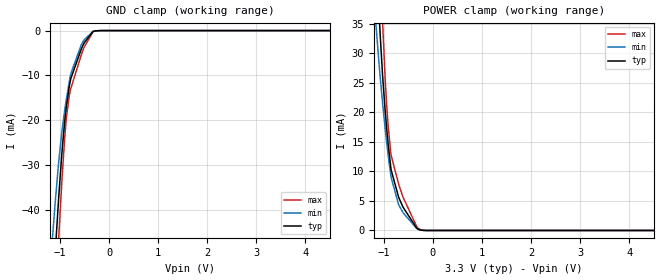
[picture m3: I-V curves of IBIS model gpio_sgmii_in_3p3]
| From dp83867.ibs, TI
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|   gpio_sgmii_in_3p3 Model
[Model]   gpio_sgmii_in_3p3
Model_type   Input
Vinl = 0.7
Vinh = 1.7
|   typ   min   max
|   (nom PVT)   (fast PVT)   (slow PVT)
C_comp   6.275E-12   4.463E-12   8.316E-12
| Where nom  PVT is Nominal Process, 3.3V, 27C
|   Fast PVT is Strong Process,  3.465V, -40C
|   Slow PVT is Weak Process,   3.165V, 125C
[Voltage Range]   3.3   3.165   3.465
|Junction Temperature
[Temperature Range]   27   125   -40
[Power Clamp Reference]   3.3   3.165   3.465
[GND Clamp Reference]   0   0   0
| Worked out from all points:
|   GND clamp passes 1 mA (typ) near -0.39 V on its own axis
[GND Clamp]
|   Voltage   I(typ)   I(min)   I(max)
-3.3V     -481.3mA   -411.6mA   -551mA
-1.158V   -60.22mA   -46.72mA   -73.76mA
-1.097V   -49.05mA   -37.98mA   -60.5mA
-1.021V   -36.14mA   -28.52mA   -44.79mA
-960mV    -26.91mA   -22.27mA   -32.98mA
-907.5mV  -20.42mA   -17.85mA   -24.19mA
-873mV    -17mA      -15.3mA    -19.59mA
-808.8mV  -12.19mA   -11.16mA   -14.23mA
-778.8mV  -10.61mA   -9.534mA   -12.83mA
-570mV    -4.186mA   -3.205mA   -5.505mA
-330mV    -212.5uA   -181.2uA   -297.9uA
6.6V      0A         0A         0A
[POWER Clamp]
|   Voltage   I(typ)   I(min)   I(max)
-3.3V     598.5mA    481.6mA    716.6mA
-1.158V   48.22mA    34.58mA    68.03mA
-1.089V   35.47mA    27.37mA    50.21mA
-1.075V   33.24mA    26.06mA    46.83mA
-1.018V   25.25mA    20.92mA    33.86mA
-975mV    20.49mA    17.4mA     26.01mA
-940.5mV  17.11mA    14.73mA    21.01mA
-913.2mV  14.68mA    12.76mA    17.81mA
-852mV    10.26mA    9mA        12.73mA
-676.5mV  5.192mA    4.007mA    7.282mA
-306.9mV  260.8uA    230.5uA    450.6uA
6.6V      0A         0A         0A
